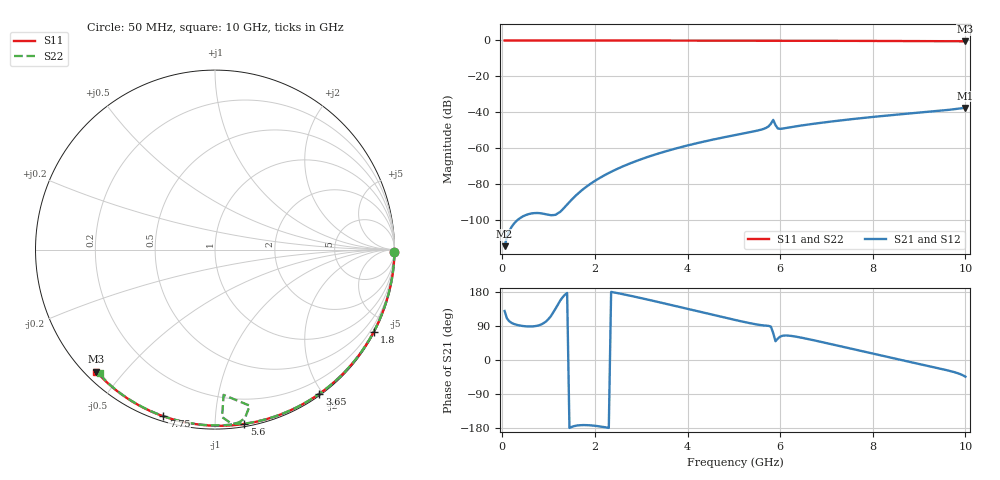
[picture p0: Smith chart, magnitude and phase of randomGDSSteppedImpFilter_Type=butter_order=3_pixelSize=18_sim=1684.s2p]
! freq	dB(S11)	phase(S11)	dB(S12)	phase(S12)
!  dB(S21)	phase(S21)	dB(S22)	phase(S22)
!S-par simulation data
#  GHz  S  DB  R 50
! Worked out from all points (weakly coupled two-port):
!   200 points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, 50 MHz to 10 GHz, reference 50 ohm
!   highest |S21| = -37.61 dB at 10 GHz (marker M1); lowest = -114.7 dB at 50 MHz (marker M2)
!   lowest |S11| = -0.5 dB at 10 GHz (marker M3), VSWR 37.31, Z = 1.58 - j21.1 ohm
!   |S11| at or under -10 dB: nowhere
!   |S22| runs from -1.8 to 0.0 dB; largest |S21 - S12| = 0
!   S11 on the Smith chart (normalised r, x): 50 MHz: open; 1.8 GHz: 0.04, -4.11; 3.65 GHz: 0.02, -1.96; 5.6 GHz: 0.02, -1.18; 7.75 GHz: 0.02, -0.74; 10 GHz: 0.03, -0.42
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0.05  -0.00 -0.8  -114.74 129.3  -114.74 129.3  -0.00 -0.8
0.9  -0.02 -13.8  -96.72 97.9  -96.72 97.9  -0.02 -13.7
1.75  -0.03 -26.6  -82.89 -171.7  -82.89 -171.7  -0.03 -26.4
1.8  -0.03 -27.4  -81.89 -171.8  -81.89 -171.8  -0.03 -27.1
1.9  -0.04 -28.8  -80.03 -172.4  -80.03 -172.4  -0.04 -28.6
2.25  -0.04 -34.0  -74.58 -178.1  -74.58 -178.1  -0.04 -33.8
2.65  -0.05 -39.9  -69.72 172.5  -69.72 172.5  -0.05 -39.6
3.4  -0.07 -50.6  -62.83 152.1  -62.83 152.1  -0.07 -50.3
3.65  -0.07 -54.2  -60.95 145.0  -60.95 145.0  -0.07 -53.8
5.05  -0.11 -73.3  -52.66 105.0  -52.66 105.0  -0.11 -73.1
5.6  -0.13 -80.5  -49.67 91.8  -49.67 91.8  -0.16 -81.3
5.75  -0.14 -82.4  -47.92 90.1  -47.92 90.1  -0.30 -85.2
5.8  -0.14 -83.1  -46.46 88.0  -46.46 88.0  -0.59 -87.6
5.85  -0.14 -83.7  -44.32 70.9  -44.32 70.9  -1.82 -86.6
5.9  -0.14 -84.3  -47.21 49.6  -47.21 49.6  -1.00 -77.5
5.95  -0.15 -85.0  -49.11 56.5  -49.11 56.5  -0.41 -79.9
6  -0.15 -85.6  -49.31 61.7  -49.31 61.7  -0.27 -81.8
6.7  -0.18 -94.4  -46.55 52.8  -46.55 52.8  -0.19 -93.0
7.75  -0.25 -107.2  -43.33 23.8  -43.33 23.8  -0.25 -105.9
8.35  -0.29 -114.4  -41.79 7.2  -41.79 7.2  -0.29 -113.0
9.35  -0.38 -126.3  -39.45 -19.9  -39.45 -19.9  -0.38 -124.8
10  -0.47 -134.2  -37.61 -44.0  -37.61 -44.0  -0.55 -133.1
